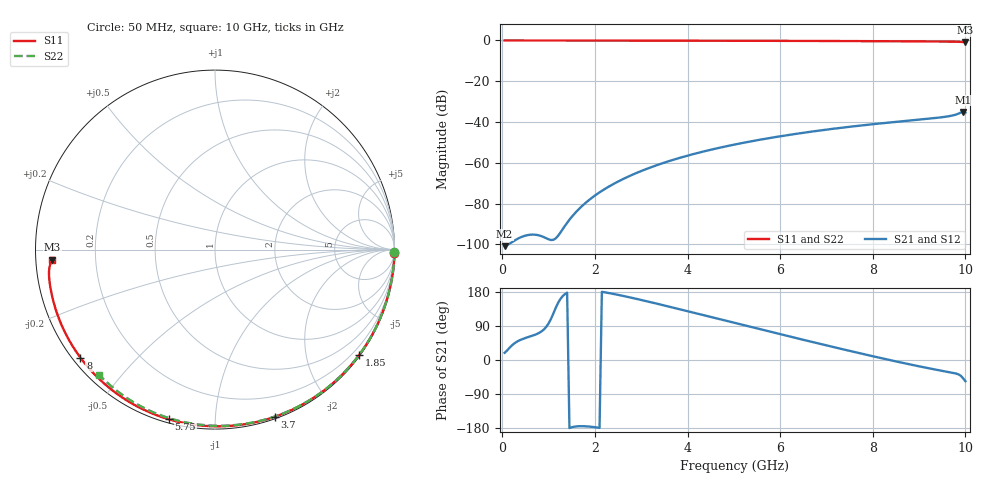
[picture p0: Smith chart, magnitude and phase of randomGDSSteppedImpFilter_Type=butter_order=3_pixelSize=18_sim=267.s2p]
! freq	dB(S11)	phase(S11)	dB(S12)	phase(S12)
!  dB(S21)	phase(S21)	dB(S22)	phase(S22)
!S-par simulation data
#  GHz  S  DB  R 50
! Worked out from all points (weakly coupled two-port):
!   200 points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, 50 MHz to 10 GHz, reference 50 ohm
!   highest |S21| = -35.05 dB at 9.95 GHz (marker M1); lowest = -100.9 dB at 50 MHz (marker M2)
!   lowest |S11| = -0.8 dB at 10 GHz (marker M3), VSWR 20.95, Z = 2.39 - j1.56 ohm
!   |S11| at or under -10 dB: nowhere
!   |S22| runs from -0.4 to 0.0 dB; largest |S21 - S12| = 0
!   S11 on the Smith chart (normalised r, x): 50 MHz: open; 1.85 GHz: 0.03, -3.05; 3.7 GHz: 0.02, -1.42; 5.75 GHz: 0.02, -0.77; 8 GHz: 0.02, -0.35; 10 GHz: 0.05, -0.03
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0.05  -0.00 -1.0  -100.86 19.0  -100.86 19.0  -0.00 -0.8
0.85  -0.02 -16.9  -95.99 75.7  -95.99 75.7  -0.02 -12.9
1.75  -0.04 -34.4  -80.59 -174.7  -80.59 -174.7  -0.03 -26.4
1.8  -0.04 -35.3  -79.60 -175.0  -79.60 -175.0  -0.03 -27.1
1.85  -0.05 -36.3  -78.65 -175.4  -78.65 -175.4  -0.04 -27.9
2.15  -0.05 -42.0  -73.74 179.9  -73.74 179.9  -0.04 -32.3
2.5  -0.06 -48.6  -69.18 171.9  -69.18 171.9  -0.05 -37.4
2.9  -0.07 -56.0  -64.95 161.3  -64.95 161.3  -0.06 -43.2
3.4  -0.09 -65.0  -60.65 146.8  -60.65 146.8  -0.07 -50.3
3.7  -0.09 -70.4  -58.46 137.9  -58.46 137.9  -0.07 -54.5
4.35  -0.12 -81.7  -54.41 118.1  -54.41 118.1  -0.09 -63.4
5.05  -0.14 -93.6  -50.87 96.8  -50.87 96.8  -0.11 -72.7
5.75  -0.18 -105.1  -47.93 75.7  -47.93 75.7  -0.14 -81.8
6.7  -0.23 -120.5  -44.63 47.4  -44.63 47.4  -0.18 -93.7
7.35  -0.28 -130.8  -42.73 28.4  -42.73 28.4  -0.22 -101.6
8  -0.34 -141.2  -41.07 10.0  -41.07 10.0  -0.26 -109.4
8.35  -0.38 -146.9  -40.25 0.3  -40.25 0.3  -0.29 -113.5
8.95  -0.45 -156.8  -38.93 -15.4  -38.93 -15.4  -0.34 -120.4
9.55  -0.53 -167.5  -37.47 -29.7  -37.47 -29.7  -0.40 -127.4
9.75  -0.58 -171.5  -36.64 -34.3  -36.64 -34.3  -0.42 -129.7
9.95  -0.76 -175.6  -35.05 -48.2  -35.05 -48.2  -0.44 -132.1
10  -0.83 -176.4  -35.49 -55.9  -35.49 -55.9  -0.45 -132.7
